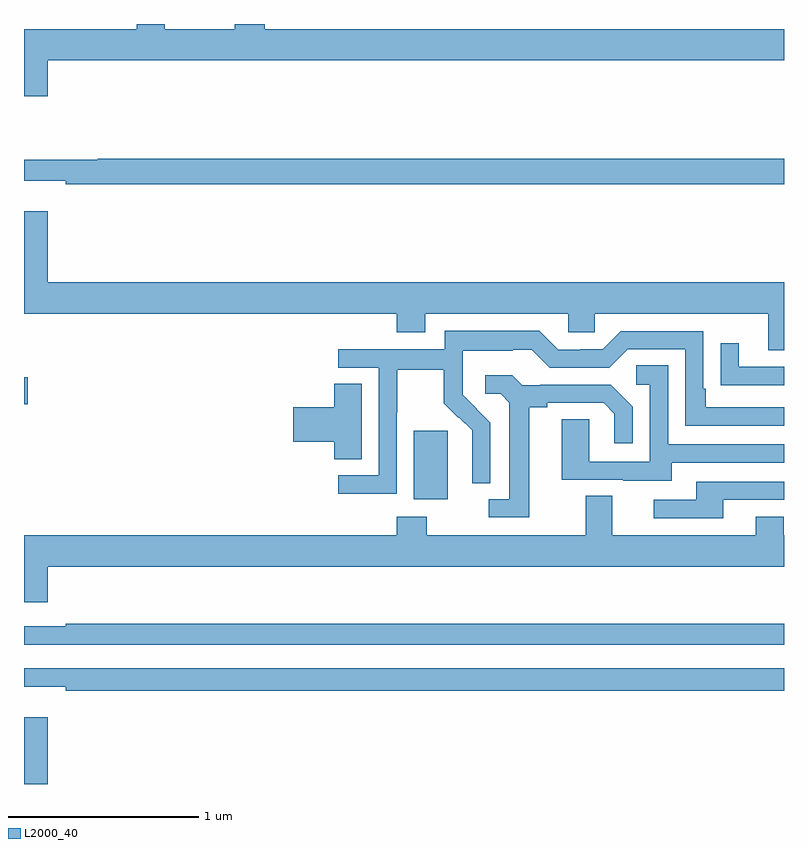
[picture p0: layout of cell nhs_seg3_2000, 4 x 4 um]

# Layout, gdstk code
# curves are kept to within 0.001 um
import gdstk
lib = gdstk.Library(unit=1e-6, precision=1e-09)
def R(c, l, rs):  # rectangles x0, y0, x1, y1
    for r in rs: c.add(gdstk.rectangle(r[:2], r[2:], *l))
def P(c, l, *ps):  # polygons
    for p in ps: c.add(gdstk.Polygon(p, *l))
L2000_40 = (2000, 40)

nhs_seg3_2000 = lib.new_cell('nhs_seg3_2000')
R(nhs_seg3_2000, L2000_40, [(213,738.4,213.124,738.751), (215.051,739.898,215.23,740.259), (213,740.399,213.019,740.541)])
P(nhs_seg3_2000, L2000_40, [(213.124,742.208),(217,742.208),(217,742.372),(214.268,742.372),(214.268,742.4),(214.108,742.4),(214.108,742.372),(213.741,742.372),(213.741,742.4),(213.594,742.4),(213.594,742.372),(213,742.372),(213,742.02),(213.124,742.02)],
  [(217,741.692),(213.389,741.692),(213.389,741.685),(213,741.685),(213,741.575),(213.22,741.575),(213.22,741.556),(217,741.556)],
  [(217,741.04),(213.124,741.04),(213.124,741.415),(213,741.415),(213,740.876),(214.961,740.876),(214.961,740.777),(215.113,740.777),(215.113,740.876),(215.865,740.876),(215.865,740.778),(216.003,740.778),(216.003,740.876),(216.917,740.876),(216.917,740.682),(217,740.682)],
  [(214.962,740.356),(214.965,740.356),(214.965,740.58),(215.209,740.58),(215.209,740.405),(215.286,740.328),(215.289,740.331),(215.36,740.261),(215.36,740.138),(215.358,740.138),(215.358,739.984),(215.454,739.984),(215.454,740.302),(215.308,740.45),(215.308,740.547),(215.31,740.547),(215.31,740.681),(215.573,740.681),(215.573,740.685),(215.673,740.685),(215.766,740.592),(216.081,740.592),(216.177,740.688),(216.48,740.688),(216.48,740.286),(217,740.286),(217,740.382),(216.589,740.382),(216.589,740.479),(216.576,740.479),(216.576,740.784),(216.141,740.784),(216.045,740.688),(215.927,740.688),(215.927,740.685),(215.811,740.685),(215.711,740.785),(215.214,740.785),(215.214,740.688),(214.653,740.688),(214.653,740.592),(214.866,740.592),(214.866,740.025),(214.653,740.025),(214.653,739.927),(214.962,739.927)],
  [(217,740.595),(216.763,740.595),(216.763,740.719),(216.667,740.719),(216.667,740.5),(216.769,740.5),(216.769,740.499),(217,740.499)],
  [(216.409,740.091),(217,740.091),(217,740.187),(216.39,740.187),(216.39,740.603),(216.222,740.603),(216.222,740.502),(216.294,740.502),(216.294,740.097),(215.976,740.097),(215.976,740.321),(215.831,740.321),(215.831,740.001),(216.155,740.001),(216.155,739.997),(216.409,739.997)],
  [(215.659,740.384),(215.755,740.384),(215.755,740.406),(216.05,740.406),(216.107,740.349),(216.107,740.193),(216.204,740.193),(216.204,740.386),(216.088,740.502),(215.716,740.502),(215.716,740.499),(215.622,740.499),(215.57,740.551),(215.427,740.551),(215.427,740.454),(215.508,740.454),(215.555,740.407),(215.555,739.899),(215.445,739.899),(215.445,739.803),(215.659,739.803)],
  [(214.777,740.507),(214.634,740.507),(214.634,740.384),(214.416,740.384),(214.416,740.201),(214.634,740.201),(214.634,740.11),(214.777,740.11)],
  [(216.679,739.896),(217,739.896),(217,739.992),(216.539,739.992),(216.539,739.896),(216.315,739.896),(216.315,739.8),(216.679,739.8)],
  [(217,739.708),(216.999,739.708),(216.999,739.807),(216.851,739.807),(216.851,739.708),(216.097,739.708),(216.097,739.916),(215.957,739.916),(215.957,739.708),(215.121,739.708),(215.121,739.807),(214.961,739.807),(214.961,739.708),(213,739.708),(213,739.356),(213.124,739.356),(213.124,739.544),(217,739.544)],
  [(217,739.243),(213.22,739.243),(213.22,739.23),(213,739.23),(213,739.134),(217,739.134)],
  [(217,739.008),(213,739.008),(213,738.911),(213.22,738.911),(213.22,738.892),(217,738.892)])

lib.write_gds('nhs_seg3_2000.gds')
